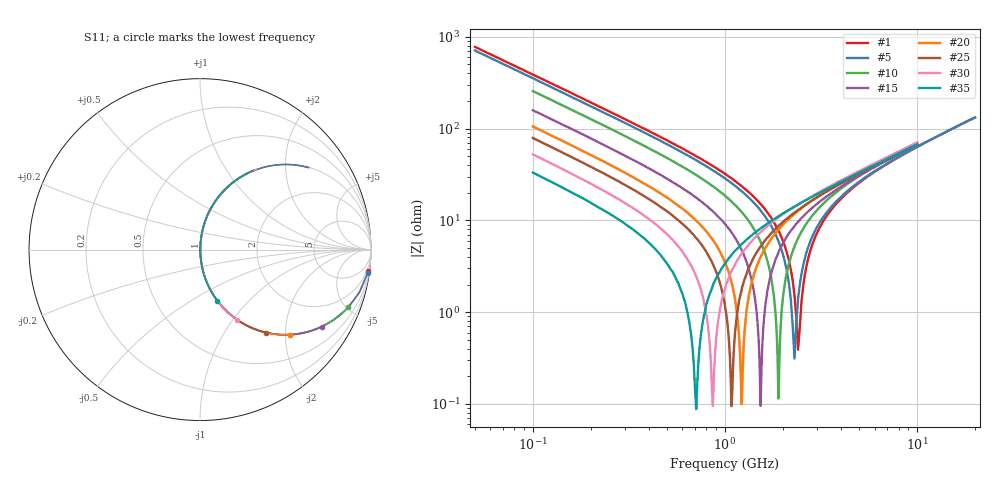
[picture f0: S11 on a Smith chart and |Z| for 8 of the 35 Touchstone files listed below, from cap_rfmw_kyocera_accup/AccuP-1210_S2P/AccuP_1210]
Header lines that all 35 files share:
! AVX Thin Film Operation		Date: April 2012
! Description: Accu-P® Series, Thin Film, SMD, RF Capacitor
!	Serial	Measurements
#	MHZ	S	MA	R	50
!	S11	S21	S12	S22
!	dB	Phase	dB	Phase	dB	Phase	dB	Phase
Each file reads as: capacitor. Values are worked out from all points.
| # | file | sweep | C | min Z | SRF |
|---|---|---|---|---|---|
| 1 | C1210SE4r1.s2p | 50 MHz to 20 GHz | 4.1 pF | 390 mohm | 2.407 GHz |
| 2 | C1210SE4r2.s2p | 50 MHz to 20 GHz | 4.2 pF | 429 mohm | 2.379 GHz |
| 3 | C1210SE4r3.s2p | 50 MHz to 20 GHz | 4.3 pF | 319 mohm | 2.351 GHz |
| 4 | C1210SE4r4.s2p | 50 MHz to 20 GHz | 4.4 pF | 447 mohm | 2.324 GHz |
| 5 | C1210SE4r5.s2p | 50 MHz to 20 GHz | 4.5 pF | 313 mohm | 2.298 GHz |
| 6 | C1210SE4r6.s2p | 50 MHz to 20 GHz | 4.6 pF | 436 mohm | 2.273 GHz |
| 7 | C1210SE4r7.s2p | 100 MHz to 10 GHz | 4.7 pF | 115 mohm | 2.181 GHz |
| 8 | C1210SE5r1.s2p | 100 MHz to 10 GHz | 5.1 pF | 118 mohm | 2.094 GHz |
| 9 | C1210SE5r6.s2p | 100 MHz to 10 GHz | 5.6 pF | 126 mohm | 1.998 GHz |
| 10 | C1210SE6r2.s2p | 100 MHz to 10 GHz | 6.2 pF | 115 mohm | 1.899 GHz |
| 11 | C1210SE6r8.s2p | 50 MHz to 20 GHz | 6.8 pF | 134 mohm | 1.816 GHz |
| 12 | C1210SE7r5.s2p | 100 MHz to 10 GHz | 7.5 pF | 122 mohm | 1.685 GHz |
| 13 | C1210SE8r2.s2p | 100 MHz to 10 GHz | 8.2 pF | 105 mohm | 1.692 GHz |
| 14 | C1210SE9r1.s2p | 100 MHz to 10 GHz | 9.1 pF | 115 mohm | 1.606 GHz |
| 15 | C1210SE100.s2p | 100 MHz to 10 GHz | 10 pF | 95.3 mohm | 1.532 GHz |
| 16 | C1210SE110.s2p | 100 MHz to 10 GHz | 11 pF | 96.3 mohm | 1.534 GHz |
| 17 | C1210SE120.s2p | 100 MHz to 10 GHz | 12 pF | 105 mohm | 1.399 GHz |
| 18 | C1210SE130.s2p | 100 MHz to 10 GHz | 13 pF | 114 mohm | 1.311 GHz |
| 19 | C1210SE140.s2p | 50 MHz to 20 GHz | 14 pF | 197 mohm | 1.303 GHz |
| 20 | C1210SE150.s2p | 100 MHz to 10 GHz | 15 pF | 100 mohm | 1.221 GHz |
| 21 | C1210SE160.s2p | 100 MHz to 10 GHz | 16 pF | 101 mohm | 1.211 GHz |
| 22 | C1210SE170.s2p | 50 MHz to 20 GHz | 17 pF | 302 mohm | 1.182 GHz |
| 23 | C1210SE180.s2p | 100 MHz to 10 GHz | 18 pF | 104 mohm | 1.088 GHz |
| 24 | C1210SE190.s2p | 50 MHz to 20 GHz | 19 pF | 308 mohm | 1.119 GHz |
| 25 | C1210SE200.s2p | 100 MHz to 10 GHz | 20 pF | 94.7 mohm | 1.083 GHz |
| 26 | C1210SE210.s2p | 50 MHz to 20 GHz | 21 pF | 256 mohm | 1.064 GHz |
| 27 | C1210SE220.s2p | 100 MHz to 10 GHz | 22 pF | 110 mohm | 1.008 GHz |
| 28 | C1210SE240.s2p | 50 MHz to 20 GHz | 24 pF | 140 mohm | 995.1 MHz |
| 29 | C1210SE270.s2p | 100 MHz to 10 GHz | 27 pF | 92.8 mohm | 932.3 MHz |
| 30 | C1210SE300.s2p | 100 MHz to 10 GHz | 30 pF | 94.9 mohm | 863.2 MHz |
| 31 | C1210SE330.s2p | 100 MHz to 10 GHz | 33 pF | 95.4 mohm | 843.4 MHz |
| 32 | C1210SE360.s2p | 50 MHz to 20 GHz | 36 pF | 111 mohm | 801 MHz |
| 33 | C1210SE390.s2p | 100 MHz to 10 GHz | 39 pF | 86.7 mohm | 775.8 MHz |
| 34 | C1210SE430.s2p | 50 MHz to 20 GHz | 43 pF | 134 mohm | 743.5 MHz |
| 35 | C1210SE470.s2p | 100 MHz to 10 GHz | 47 pF | 88 mohm | 706.7 MHz |
